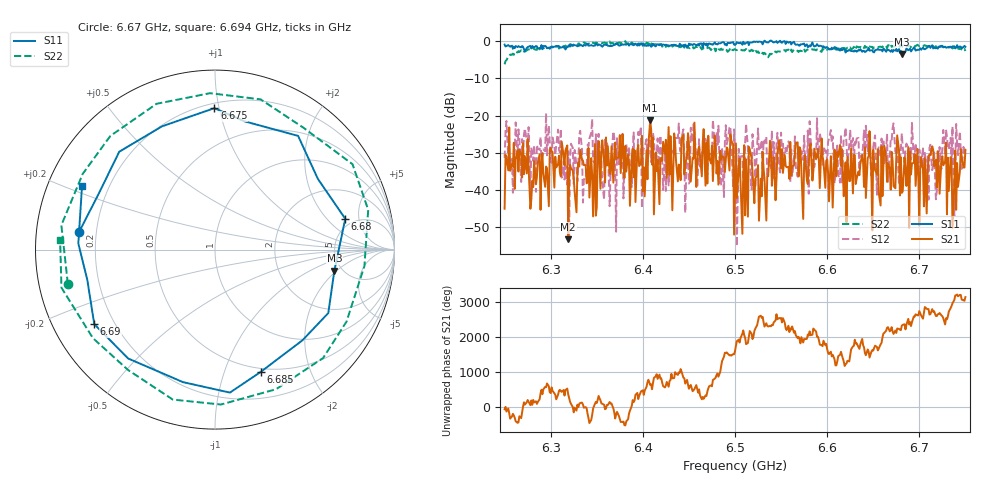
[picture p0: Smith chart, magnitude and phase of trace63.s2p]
# Hz S RI R 50
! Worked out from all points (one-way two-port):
!   401 points, 6.25 GHz to 6.75 GHz, reference 50 ohm
!   highest |S21| = -21.22 dB at 6.408 GHz (marker M1); lowest = -53.2 dB at 6.319 GHz (marker M2)
!   lowest |S11| = -3.4 dB at 6.681 GHz (marker M3), VSWR 5.16, Z = 216 - j93 ohm
!   |S11| at or under -10 dB: nowhere
!   |S22| runs from -6.2 to 0.0 dB; largest |S21 - S12| = 0.12
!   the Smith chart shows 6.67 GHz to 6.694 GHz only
!   S11 on the Smith chart (normalised r, x): 6.67 GHz: 0.14, +0.06; 6.675 GHz: 0.23, +0.97; 6.68 GHz: 4.24, +3.28; 6.685 GHz: 0.46, -1.34; 6.69 GHz: 0.13, -0.28; 6.694 GHz: 0.10, +0.22
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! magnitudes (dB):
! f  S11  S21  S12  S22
! 6.25 GHz  -0.9  -45.0  -31.3  -6.2
! 6.309 GHz  -1.3  -30.8  -29.3  -1.9
! 6.319 GHz  -1.5  -53.2  -29.5  -1.2
! 6.334 GHz  -1.2  -31.8  -29.2  -0.9
! 6.348 GHz  -1.2  -27.6  -32.7  -0.6
! 6.354 GHz  -1.0  -39.7  -31.9  -0.5
! 6.408 GHz  -1.0  -21.2  -24.7  -0.9
! 6.418 GHz  -1.1  -43.8  -34.8  -0.8
! 6.486 GHz  -0.2  -30.9  -29.0  -2.3
! 6.492 GHz  -0.4  -28.9  -26.7  -2.8
! 6.5 GHz  -1.0  -39.9  -30.1  -2.1
! 6.584 GHz  -0.3  -37.4  -33.0  -2.2
! 6.668 GHz  -2.6  -34.2  -30.7  -1.1
! 6.67 GHz  -2.4  -29.7  -26.7  -1.5
! 6.675 GHz  -2.1  -31.3  -29.9  -1.2
! 6.68 GHz  -2.5  -31.2  -28.8  -0.9
! 6.681 GHz  -3.4  -40.8  -24.8  -1.1
! 6.685 GHz  -2.8  -34.7  -28.7  -1.4
! 6.69 GHz  -2.0  -29.7  -28.7  -1.6
! 6.694 GHz  -1.7  -32.7  -31.4  -1.3
! 6.719 GHz  -1.6  -39.3  -40.2  -1.8
! 6.75 GHz  -1.5  -29.3  -28.2  -2.6
